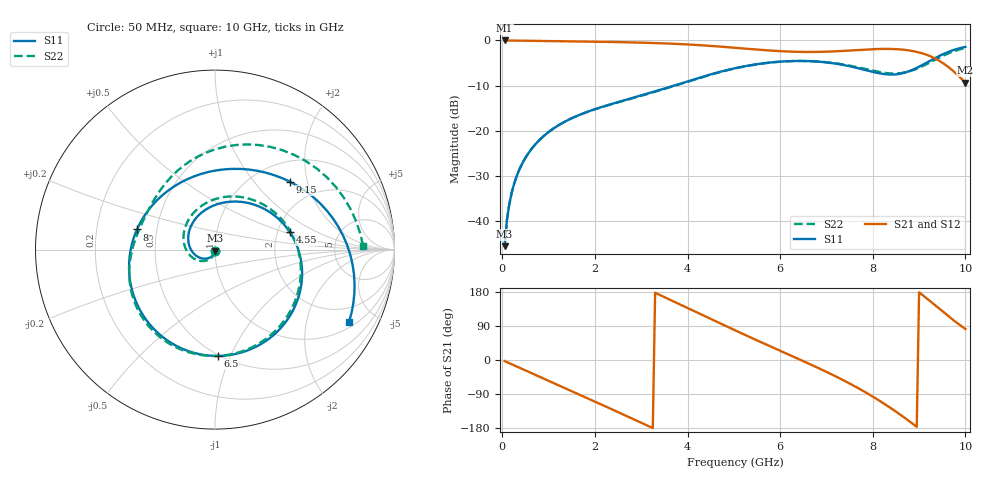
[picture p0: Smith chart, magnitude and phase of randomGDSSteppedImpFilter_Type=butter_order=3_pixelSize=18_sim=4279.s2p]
! freq	dB(S11)	phase(S11)	dB(S12)	phase(S12)
!  dB(S21)	phase(S21)	dB(S22)	phase(S22)
!S-par simulation data
#  GHz  S  DB  R 50
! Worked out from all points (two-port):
!   200 points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, 50 MHz to 10 GHz, reference 50 ohm
!   highest |S21| = 0.00 dB at 50 MHz (marker M1); lowest = -9.4 dB at 10 GHz (marker M2)
!   |S21| within 3 dB of the highest: start of sweep to 9.115 GHz
!   lowest |S11| = -45.5 dB at 50 MHz (marker M3), VSWR 1.01, Z = 50 - j0.531 ohm
!   |S11| at or under -10 dB: start of sweep to 3.703 GHz
!   |S22| runs from -45.5 to -1.7 dB; largest |S21 - S12| = 0
!   S11 on the Smith chart (normalised r, x): 50 MHz: 1.00, -0.01; 4.55 GHz: 2.34, +0.55; 6.5 GHz: 0.49, -0.90; 8 GHz: 0.39, +0.11; 9.15 GHz: 1.42, +1.57; 10 GHz: 1.24, -3.56
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0.05  -45.50 -89.1  -0.00 -2.8  -0.00 -2.8  -45.50 -88.0
0.1  -39.73 -93.7  -0.01 -5.6  -0.01 -5.6  -39.72 -92.2
0.2  -33.81 -101.3  -0.02 -11.1  -0.02 -11.1  -33.79 -98.5
0.5  -25.96 -121.1  -0.05 -27.5  -0.05 -27.5  -25.94 -114.1
1.15  -19.17 -161.7  -0.13 -63.1  -0.13 -63.1  -19.17 -146.2
1.75  -16.12 161.9  -0.22 -96.0  -0.22 -96.0  -16.14 -176.1
2.2  -14.55 135.6  -0.30 -120.8  -0.30 -120.8  -14.59 160.4
2.65  -13.20 110.3  -0.40 -145.9  -0.40 -145.9  -13.26 135.4
3.4  -10.96 70.9  -0.61 171.7  -0.61 171.7  -11.03 90.2
4.05  -8.89 38.2  -0.91 134.4  -0.91 134.4  -8.96 48.6
4.55  -7.36 13.0  -1.24 105.6  -1.24 105.6  -7.42 16.7
5.05  -6.09 -12.4  -1.65 77.0  -1.65 77.0  -6.14 -14.2
5.8  -4.86 -51.1  -2.25 35.3  -2.25 35.3  -4.89 -57.9
6.5  -4.54 -88.5  -2.54 -3.0  -2.54 -3.0  -4.54 -96.4
6.7  -4.61 -99.8  -2.55 -14.2  -2.55 -14.2  -4.60 -107.2
7.45  -5.60 -148.0  -2.26 -58.8  -2.26 -58.8  -5.47 -148.2
8  -6.96 165.5  -1.93 -96.6  -1.93 -96.6  -6.68 -178.9
8.35  -7.54 128.6  -1.88 -123.7  -1.88 -123.7  -7.27 160.7
8.8  -6.74 77.8  -2.24 -162.5  -2.24 -162.5  -6.81 128.9
9.15  -4.98 42.2  -3.12 164.1  -3.12 164.1  -5.31 95.2
9.55  -2.88 6.3  -5.26 123.9  -5.26 123.9  -3.24 49.9
10  -1.42 -28.3  -9.36 81.8  -9.36 81.8  -1.66 1.3
